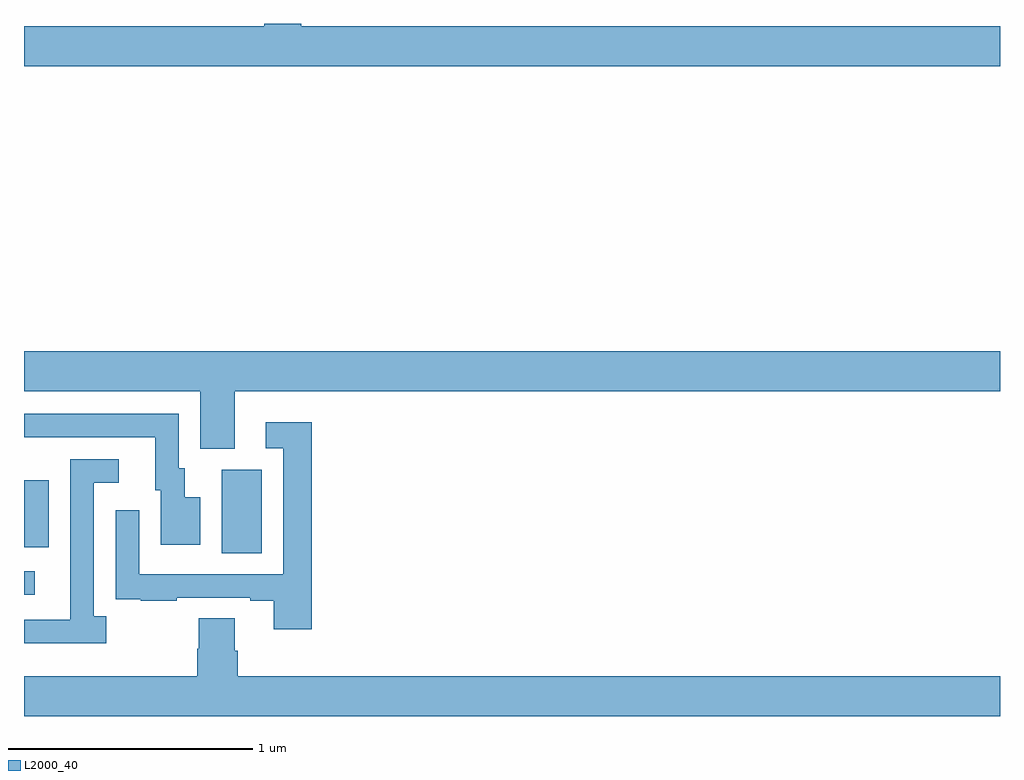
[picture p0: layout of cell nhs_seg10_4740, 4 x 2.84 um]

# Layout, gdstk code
import gdstk
lib = gdstk.Library(unit=1e-6, precision=1e-09)
def R(c, l, rs):  # rectangles x0, y0, x1, y1
    for r in rs: c.add(gdstk.rectangle(r[:2], r[2:], *l))
def P(c, l, *ps):  # polygons
    for p in ps: c.add(gdstk.Polygon(p, *l))
L2000_40 = (2000, 40)

nhs_seg10_4740 = lib.new_cell('nhs_seg10_4740')
R(nhs_seg10_4740, L2000_40, [(383,1290.159,383.044,1290.255), (383.81,1290.328,383.974,1290.672), (383,1290.353,383.101,1290.628)])
P(nhs_seg10_4740, L2000_40, [(387,1292.488),(384.137,1292.488),(384.137,1292.5),(383.984,1292.5),(383.984,1292.488),(383,1292.488),(383,1292.324),(387,1292.324)],
  [(383.863,1290.992),(387,1290.992),(387,1291.156),(383,1291.156),(383,1290.992),(383.723,1290.992),(383.723,1290.757),(383.863,1290.757)],
  [(383.722,1290.559),(383.659,1290.559),(383.659,1290.678),(383.634,1290.678),(383.634,1290.9),(383,1290.9),(383,1290.804),(383.537,1290.804),(383.537,1290.588),(383.561,1290.588),(383.561,1290.363),(383.722,1290.363)],
  [(384.179,1290.865),(383.991,1290.865),(383.991,1290.759),(384.063,1290.759),(384.063,1290.243),(383.472,1290.243),(383.472,1290.505),(383.376,1290.505),(383.376,1290.25),(383.377,1290.25),(383.377,1290.141),(383.479,1290.141),(383.479,1290.135),(383.627,1290.135),(383.627,1290.147),(383.927,1290.147),(383.927,1290.135),(384.023,1290.135),(384.023,1290.018),(384.179,1290.018)],
  [(383.338,1290.07),(383.286,1290.07),(383.286,1290.618),(383.389,1290.618),(383.389,1290.714),(383.19,1290.714),(383.19,1290.257),(383.189,1290.257),(383.189,1290.057),(383,1290.057),(383,1289.96),(383.338,1289.96)],
  [(387,1289.824),(383.876,1289.824),(383.876,1289.93),(383.863,1289.93),(383.863,1290.062),(383.716,1290.062),(383.716,1289.937),(383.711,1289.937),(383.711,1289.824),(383,1289.824),(383,1289.66),(387,1289.66)])

lib.write_gds('nhs_seg10_4740.gds')
